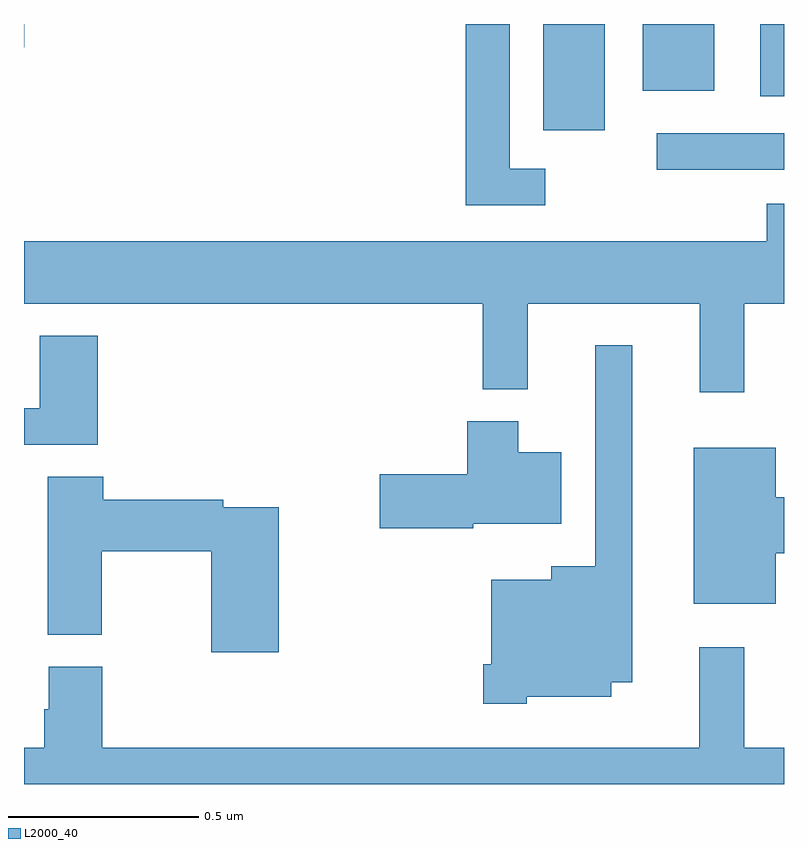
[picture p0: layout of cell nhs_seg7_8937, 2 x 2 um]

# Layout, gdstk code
import gdstk
lib = gdstk.Library(unit=1e-6, precision=1e-09)
def R(c, l, rs):  # rectangles x0, y0, x1, y1
    for r in rs: c.add(gdstk.rectangle(r[:2], r[2:], *l))
def P(c, l, *ps):  # polygons
    for p in ps: c.add(gdstk.Polygon(p, *l))
L2000_40 = (2000, 40)

nhs_seg7_8937 = lib.new_cell('nhs_seg7_8937')
R(nhs_seg7_8937, L2000_40, [(232.665,1019.616,233,1019.712), (232.367,1019.721,232.528,1020), (232.937,1019.81,233,1020), (232.628,1019.825,232.816,1020), (231,1019.939,231.001,1020)])
P(nhs_seg7_8937, L2000_40, [(232.372,1019.619),(232.278,1019.619),(232.278,1020),(232.162,1020),(232.162,1019.523),(232.372,1019.523)],
  [(232.895,1019.264),(233,1019.264),(233,1019.527),(232.955,1019.527),(232.955,1019.428),(231,1019.428),(231,1019.264),(232.207,1019.264),(232.207,1019.039),(232.325,1019.039),(232.325,1019.264),(232.778,1019.264),(232.778,1019.031),(232.895,1019.031)],
  [(231.194,1019.179),(231.041,1019.179),(231.041,1018.989),(231,1018.989),(231,1018.893),(231.194,1018.893)],
  [(232.323,1018.229),(232.546,1018.229),(232.546,1018.268),(232.6,1018.268),(232.6,1019.155),(232.503,1019.155),(232.503,1018.573),(232.388,1018.573),(232.388,1018.537),(232.229,1018.537),(232.229,1018.315),(232.208,1018.315),(232.208,1018.211),(232.323,1018.211)],
  [(232.182,1018.685),(232.414,1018.685),(232.414,1018.873),(232.3,1018.873),(232.3,1018.954),(232.166,1018.954),(232.166,1018.815),(231.936,1018.815),(231.936,1018.673),(232.182,1018.673)],
  [(232.978,1018.607),(233,1018.607),(233,1018.754),(232.978,1018.754),(232.978,1018.885),(232.763,1018.885),(232.763,1018.475),(232.978,1018.475)],
  [(231.671,1018.728),(231.524,1018.728),(231.524,1018.748),(231.209,1018.748),(231.209,1018.808),(231.062,1018.808),(231.062,1018.393),(231.204,1018.393),(231.204,1018.612),(231.493,1018.612),(231.493,1018.347),(231.671,1018.347)],
  [(233,1018.096),(232.895,1018.096),(232.895,1018.36),(232.777,1018.36),(232.777,1018.096),(231.206,1018.096),(231.206,1018.308),(231.065,1018.308),(231.065,1018.197),(231.053,1018.197),(231.053,1018.096),(231,1018.096),(231,1018),(233,1018)])

lib.write_gds('nhs_seg7_8937.gds')
